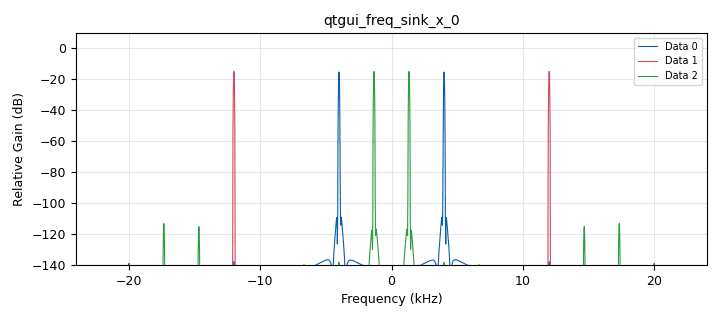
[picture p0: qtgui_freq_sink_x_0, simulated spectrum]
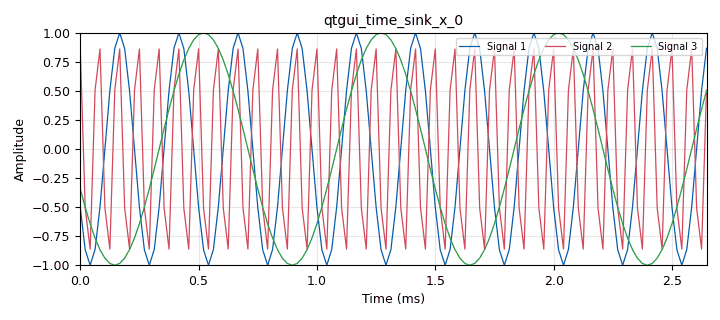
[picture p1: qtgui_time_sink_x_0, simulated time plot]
options:
  parameters:
    author: Juan_Peña_Javier_Ballesteros_L1B_G4
    generate_options: qt_gui
    id: diagrama2
    output_language: python
    title: lab1_parteb_diagrama2
  states: {}

blocks:
- name: freq
  id: variable_qtgui_range
  parameters:
    label: frecuency
    start: '1000'
    step: '1000'
    stop: '40000'
    value: '4000'
  states: {}
- name: samp_rate
  id: variable
  parameters:
    value: '48000'
  states: {}
- name: analog_sig_source_x_0
  id: analog_sig_source_x
  parameters:
    amp: '1'
    freq: freq
    offset: '0'
    phase: '0'
    samp_rate: samp_rate
    type: float
    waveform: analog.GR_COS_WAVE
  states: {}
- name: analog_sig_source_x_0_0
  id: analog_sig_source_x
  parameters:
    amp: '1'
    freq: freq
    offset: '0'
    phase: '0'
    samp_rate: samp_rate
    type: float
    waveform: analog.GR_COS_WAVE
  states: {}
- name: analog_sig_source_x_0_1
  id: analog_sig_source_x
  parameters:
    amp: '1'
    freq: freq
    offset: '0'
    phase: '0'
    samp_rate: samp_rate
    type: float
    waveform: analog.GR_COS_WAVE
  states: {}
- name: blocks_throttle_0
  id: blocks_throttle
  parameters:
    samples_per_second: samp_rate
    type: float
  states: {}
- name: qtgui_freq_sink_x_0
  id: qtgui_freq_sink_x
  parameters:
    average: '0.05'
    bw: samp_rate
    fc: '0'
    fftsize: '2048'
    nconnections: '3'
    type: float
  states: {}
- name: qtgui_time_sink_x_0
  id: qtgui_time_sink_x
  parameters:
    nconnections: '3'
    size: '128'
    srate: samp_rate
    type: float
  states: {}
- name: rational_resampler_xxx_0
  id: rational_resampler_xxx
  parameters:
    decim: '1'
    interp: '1'
    type: fff
  states: {}
- name: rational_resampler_xxx_0_0
  id: rational_resampler_xxx
  parameters:
    decim: '3'
    interp: '1'
    type: fff
  states: {}
- name: rational_resampler_xxx_0_1
  id: rational_resampler_xxx
  parameters:
    decim: '1'
    interp: '3'
    type: fff
  states: {}

connections:
- [analog_sig_source_x_0, '0', rational_resampler_xxx_0, '0']
- [analog_sig_source_x_0_0, '0', rational_resampler_xxx_0_0, '0']
- [analog_sig_source_x_0_1, '0', rational_resampler_xxx_0_1, '0']
- [blocks_throttle_0, '0', qtgui_freq_sink_x_0, '0']
- [blocks_throttle_0, '0', qtgui_time_sink_x_0, '0']
- [rational_resampler_xxx_0, '0', blocks_throttle_0, '0']
- [rational_resampler_xxx_0_0, '0', qtgui_freq_sink_x_0, '1']
- [rational_resampler_xxx_0_0, '0', qtgui_time_sink_x_0, '1']
- [rational_resampler_xxx_0_1, '0', qtgui_freq_sink_x_0, '2']
- [rational_resampler_xxx_0_1, '0', qtgui_time_sink_x_0, '2']

metadata:
  file_format: 1
  grc_version: 3.10.5.1
